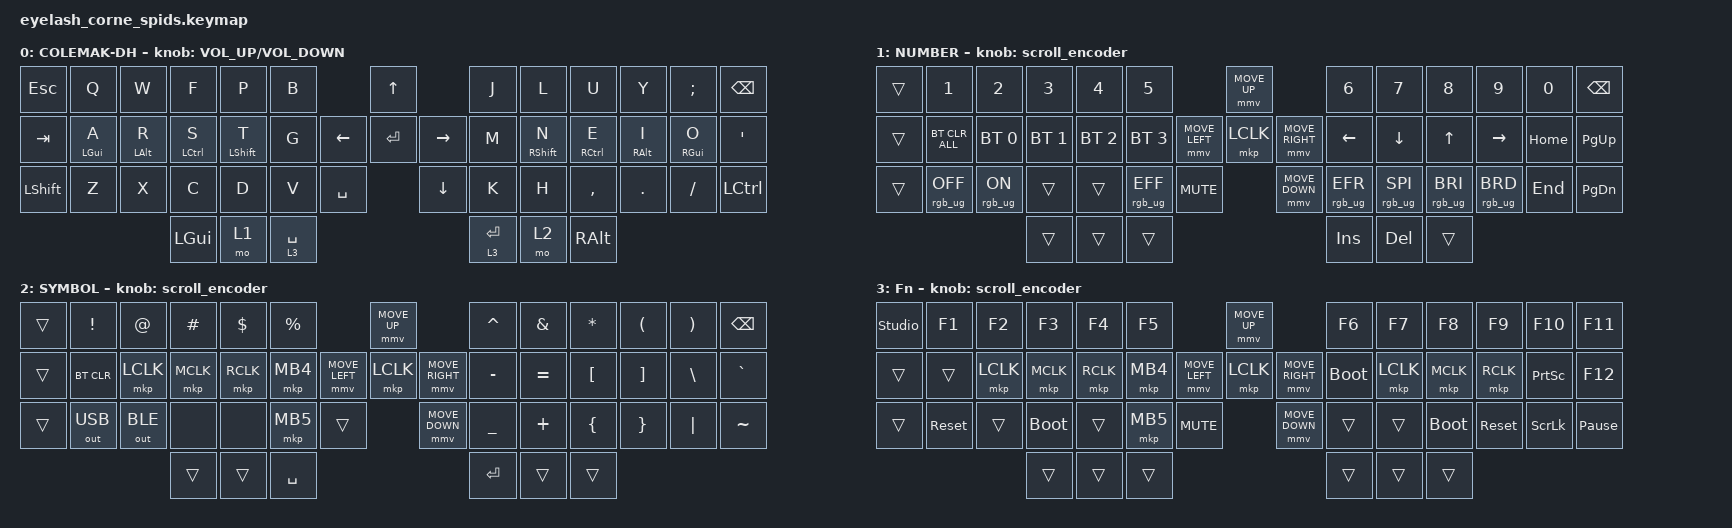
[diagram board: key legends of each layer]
#define ZMK_POINTING_DEFAULT_MOVE_VAL 1200  // 600
#define ZMK_POINTING_DEFAULT_SCRL_VAL 25   // 10

#include <input/processors.dtsi>
#include <zephyr/dt-bindings/input/input-event-codes.h>
#include <behaviors.dtsi>
#include <dt-bindings/zmk/bt.h>
#include <dt-bindings/zmk/keys.h>
#include <dt-bindings/zmk/outputs.h>
#include <dt-bindings/zmk/pointing.h>
#include <dt-bindings/zmk/rgb.h>

&mmv_input_listener { input-processors = <&zip_xy_scaler 2 1>; };

&msc_input_listener { input-processors = <&zip_scroll_scaler 2 1>; };

&msc {
    acceleration-exponent = <1>;      // 0
    time-to-max-speed-ms = <100>;       // 300
    delay-ms = <0>;                   // 0
};

&mmv {
    time-to-max-speed-ms = <500>;
    acceleration-exponent = <1>;
    trigger-period-ms = <16>;
};

/ {
    behaviors {
        // Home row mods - Mano izquierda
        hml: home_row_mod_left {
            compatible = "zmk,behavior-hold-tap";
            #binding-cells = <2>;
            flavor = "balanced";
            tapping-term-ms = <280>;
            quick-tap-ms = <175>;
            require-prior-idle-ms = <150>;
            bindings = <&kp>, <&kp>;
            hold-trigger-key-positions = <6 7 8 9 10 11 18 19 20 21 22 23 30 31 32 33 34 35 39 40 41>; // lado derecho + thumb
            hold-trigger-on-release;
        };

        // Home row mods - Mano derecha  
        hmr: home_row_mod_right {
            compatible = "zmk,behavior-hold-tap";
            #binding-cells = <2>;
            flavor = "balanced";
            tapping-term-ms = <280>;
            quick-tap-ms = <175>;
            require-prior-idle-ms = <150>;
            bindings = <&kp>, <&kp>;
            hold-trigger-key-positions = <0 1 2 3 4 5 12 13 14 15 16 17 24 25 26 27 28 29 36 37 38>; // lado izquierdo + thumb
            hold-trigger-on-release;
        };

        td0: td0 {
            compatible = "zmk,behavior-tap-dance";
            display-name = "Shift/Caps Lock Tap Dance";
            #binding-cells = <0>;
            bindings = <&kp LEFT_SHIFT>, <&kp CAPS>;
        };
    };

    rgb_encoder: rgb_encoder {
        compatible = "zmk,behavior-sensor-rotate";
        #sensor-binding-cells = <0>;
        bindings = <&rgb_ug RGB_BRI>, <&rgb_ug RGB_BRD>;
    };

    scroll_encoder: scroll_encoder {
        compatible = "zmk,behavior-sensor-rotate";
        #sensor-binding-cells = <0>;
        bindings = <&msc SCRL_DOWN>, <&msc SCRL_UP>;

        tap-ms = <100>;
    };

    keymap {
        compatible = "zmk,keymap";

        default_layer {
            display-name = "COLEMAK-DH";
            bindings = <
&kp ESC    &kp Q        &kp W        &kp F        &kp P        &kp B                               &kp UP                &kp J        &kp L        &kp U        &kp Y        &kp SEMI     &kp BSPC
&kp TAB    &hml LGUI A  &hml LALT R  &hml LCTRL S &hml LSHIFT T &kp G                     &kp LEFT  &kp ENTER  &kp RIGHT  &kp M        &hmr RSHIFT N &hmr RCTRL E &hmr RALT I  &hmr RGUI O  &kp SQT
&kp LSHIFT &kp Z        &kp X        &kp C        &kp D        &kp V        &kp SPACE              &kp DOWN              &kp K        &kp H        &kp COMMA    &kp DOT      &kp FSLH     &kp LCTRL
                                     &kp LGUI     &mo 1        &lt 3 SPACE                                               &lt 3 ENTER  &mo 2        &kp RALT
            >;

             sensor-bindings = <&inc_dec_kp C_VOLUME_UP C_VOLUME_DOWN>;

           
        };

        lower_layer {
            display-name = "NUMBER";
            bindings = <
&trans  &kp N1           &kp N2          &kp N3        &kp N4        &kp N5                                         &mmv MOVE_UP                     &kp N6           &kp N7           &kp N8           &kp N9           &kp N0    &kp BSPC
&trans  &bt BT_CLR_ALL   &bt BT_SEL 0    &bt BT_SEL 1  &bt BT_SEL 2  &bt BT_SEL 3                   &mmv MOVE_LEFT  &mkp LCLK       &mmv MOVE_RIGHT  &kp LEFT         &kp DOWN         &kp UP           &kp RIGHT        &kp HOME  &kp PG_UP
&trans  &rgb_ug RGB_OFF  &rgb_ug RGB_ON  &trans        &trans        &rgb_ug RGB_EFF  &kp C_MUTE                    &mmv MOVE_DOWN                   &rgb_ug RGB_EFR  &rgb_ug RGB_SPI  &rgb_ug RGB_BRI  &rgb_ug RGB_BRD  &kp END   &kp PG_DN
                                         &trans        &trans        &trans                                                                          &kp INS          &kp DEL          &trans
            >;

            sensor-bindings = <&scroll_encoder>;
        };

        raise_layer {
            display-name = "SYMBOL";
            bindings = <
&trans  &kp EXCL      &kp AT        &kp HASH   &kp DLLR   &kp PRCNT                            &mmv MOVE_UP                     &kp CARET  &kp AMPS   &kp ASTRK  &kp LPAR  &kp RPAR  &kp BSPC
&trans  &bt BT_CLR    &mkp LCLK     &mkp MCLK  &mkp RCLK  &mkp MB4             &mmv MOVE_LEFT  &mkp LCLK       &mmv MOVE_RIGHT  &kp MINUS  &kp EQUAL  &kp LBKT   &kp RBKT  &kp BSLH  &kp GRAVE
&trans  &out OUT_USB  &out OUT_BLE  &none      &none      &mkp MB5   &trans                    &mmv MOVE_DOWN                   &kp UNDER  &kp PLUS   &kp LBRC   &kp RBRC  &kp PIPE  &kp TILDE
                                    &trans     &trans     &kp SPACE                                                             &kp RET    &trans     &trans
            >;

            sensor-bindings = <&scroll_encoder>;
        };

        layer_3 {
            display-name = "Fn";
            bindings = <
&studio_unlock  &kp F1      &kp F2     &kp F3       &kp F4     &kp F5                                  &mmv MOVE_UP                     &kp F6       &kp F7     &kp F8       &kp F9      &kp F10          &kp F11
&trans          &trans      &mkp LCLK  &mkp MCLK    &mkp RCLK  &mkp MB4                &mmv MOVE_LEFT  &mkp LCLK       &mmv MOVE_RIGHT  &bootloader  &mkp LCLK  &mkp MCLK    &mkp RCLK   &kp PRINTSCREEN  &kp F12
&trans          &sys_reset  &trans     &bootloader  &trans     &mkp MB5  &kp C_MUTE                    &mmv MOVE_DOWN                   &trans       &trans     &bootloader  &sys_reset  &kp SCROLLLOCK   &kp PAUSE_BREAK
                                       &trans       &trans     &trans                                                                   &trans       &trans     &trans
            >;

            sensor-bindings = <&scroll_encoder>;
        };
    };
};
